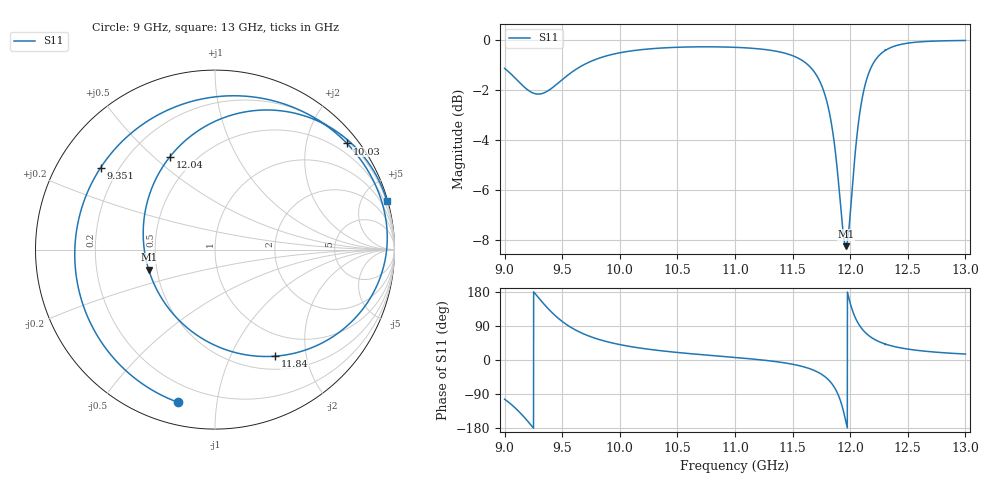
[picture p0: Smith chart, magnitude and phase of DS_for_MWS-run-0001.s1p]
! TOUCHSTONE file generated by CST DESIGN STUDIO
! Date and time: Tue Feb  4 17:58:36 2025
! Project name: C:\Work\MatlabApps\UnitCellOptimizationMatlab\CST\unitcell.cst
! Tree item: Tasks\Sweep1\SPara1\S-Parameters
! Header version: 2024
! Port assignment regex: !\s*Touchstone port\s*([0-9]+)\s*=\s*(CST MWS port|CST DES external port|CST DES block port)\s*(.+)\s* \(\"(.*)\"\)(\s*mode\s*([0-9]+))?.*
! Touchstone port assignment:
! Touchstone port 1 = CST DES external port 1 ("")
# GHz S MA R 50
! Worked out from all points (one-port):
!   4001 points, 9 GHz to 13 GHz, reference 50 ohm
!   lowest |S11| = -8.3 dB at 11.96 GHz (marker M1), VSWR 2.26, Z = 22.5 - j5.95 ohm
!   |S11| at or under -10 dB: nowhere
!   S11 on the Smith chart (normalised r, x): 9 GHz: 0.11, -0.78; 9.351 GHz: 0.13, +0.32; 10.03 GHz: 0.26, +2.82; 11.84 GHz: 0.67, -1.49; 12.04 GHz: 0.37, +0.56; 13 GHz: 0.11, +7.26
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9  0.8757 -103.4
9.099  0.8341 -128.5
9.203  0.7923 -162.4
9.275  0.7784 171.4
9.351  0.7839 144.4
9.424  0.8041 121.4
9.5  0.8314 101.7
9.596  0.8646 82.5
9.725  0.8993 64.0
10  0.9408 40.6
10.031  0.9437 38.8
10.5  0.965 19.9
11  0.9648 6.7
11.5  0.9284 -11.2
11.706  0.8495 -30.1
11.776  0.7816 -42.9
11.836  0.6815 -60.6
11.903  0.5049 -97.1
11.963  0.3862 -163.1
12  0.447 150.0
12.038  0.5746 116.0
12.072  0.6829 95.6
12.11  0.7755 79.4
12.164  0.8604 63.7
12.223  0.9131 52.4
12.338  0.9605 39.0
12.5  0.9835 28.8
13  0.9958 15.7
